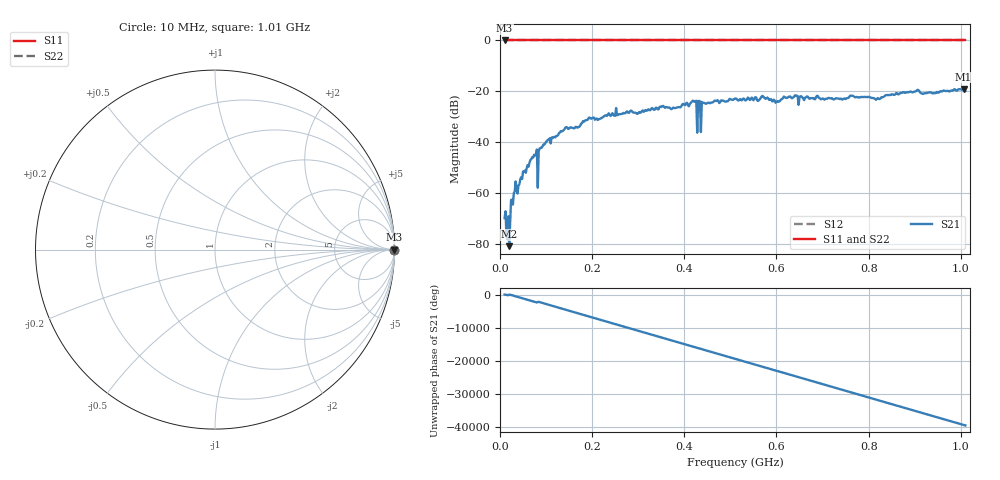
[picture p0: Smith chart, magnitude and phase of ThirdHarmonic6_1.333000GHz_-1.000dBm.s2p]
! 8/16/2025 2:55:11 PM
! C:\ANRITSUVNA\TEMP\TEMP.S2P
! CHANNEL.1
! TR.MEASUREMENT
! RAW.DATA
! RF.CORRECTION.OFF
! AVERAGING.OFF
! IF.BANDWIDTH: 5KHZ
! SWEEPTYPE:  FREQ.SWEEP(Linear)
! Reference Plane Port Info
! PORT:  PORT1  PORT2
! DISTANCE:  0  m  0  m
! TIME:  0  s  0  s
! PHASE.OFFSET:  0  deg.  0  deg.
! LOSS:  0  dB  0  dB
! REF.LOSS:  0  dB  0  dB
! REF.FREQ:  0  Hz  0  Hz
! Power Info
! POWER:  -20  dBm  -20  dBm
! EFF.POWER:  -20  dBm  -20  dBm
! SOURCE.ATTEN:  0  dB  0  dB
! TEST.ATTEN:  0  dB  0  dB
# GHZ S RI R 50.0
! FREQ.GHZ  S11RE  S11IM  S21RE  S21IM  S12RE  S12IM  S22RE  S22IM
!; PortSelection: Port_12
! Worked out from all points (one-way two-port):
!   501 points, 10 MHz to 1.01 GHz, reference 50 ohm
!   highest |S21| = -19.12 dB at 1.006 GHz (marker M1); lowest = -80.9 dB at 20 MHz (marker M2)
!   lowest |S11| = 0.0 dB at 10 MHz (marker M3)
!   |S11| at or under -10 dB: nowhere
!   |S22| runs from 0.0 to 0.0 dB; largest |S21 - S12| = 1.1
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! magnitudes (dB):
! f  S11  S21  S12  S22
! 10 MHz  0.0  -69.9  0.0  0.0
! 18 MHz  0.0  -69.2  0.0  0.0
! 20 MHz  0.0  -80.9  0.0  0.0
! 30 MHz  0.0  -60.0  0.0  0.0
! 70 MHz  0.0  -45.9  0.0  0.0
! 76 MHz  0.0  -45.3  0.0  0.0
! 80 MHz  0.0  -42.9  0.0  0.0
! 86 MHz  0.0  -42.5  0.0  0.0
! 88 MHz  0.0  -42.3  0.0  0.0
! 104 MHz  0.0  -39.1  0.0  0.0
! 178 MHz  0.0  -32.5  0.0  0.0
! 344 MHz  0.0  -27.1  0.0  0.0
! 422 MHz  0.0  -24.2  0.0  0.0
! 432 MHz  0.0  -23.8  0.0  0.0
! 434 MHz  0.0  -24.0  0.0  0.0
! 440 MHz  0.0  -24.5  0.0  0.0
! 442 MHz  0.0  -24.6  0.0  0.0
! 510 MHz  0.0  -22.9  0.0  0.0
! 678 MHz  0.0  -22.7  0.0  0.0
! 844 MHz  0.0  -21.5  0.0  0.0
! 1.006 GHz  0.0  -19.1  0.0  0.0
! 1.01 GHz  0.0  -19.9  0.0  0.0
